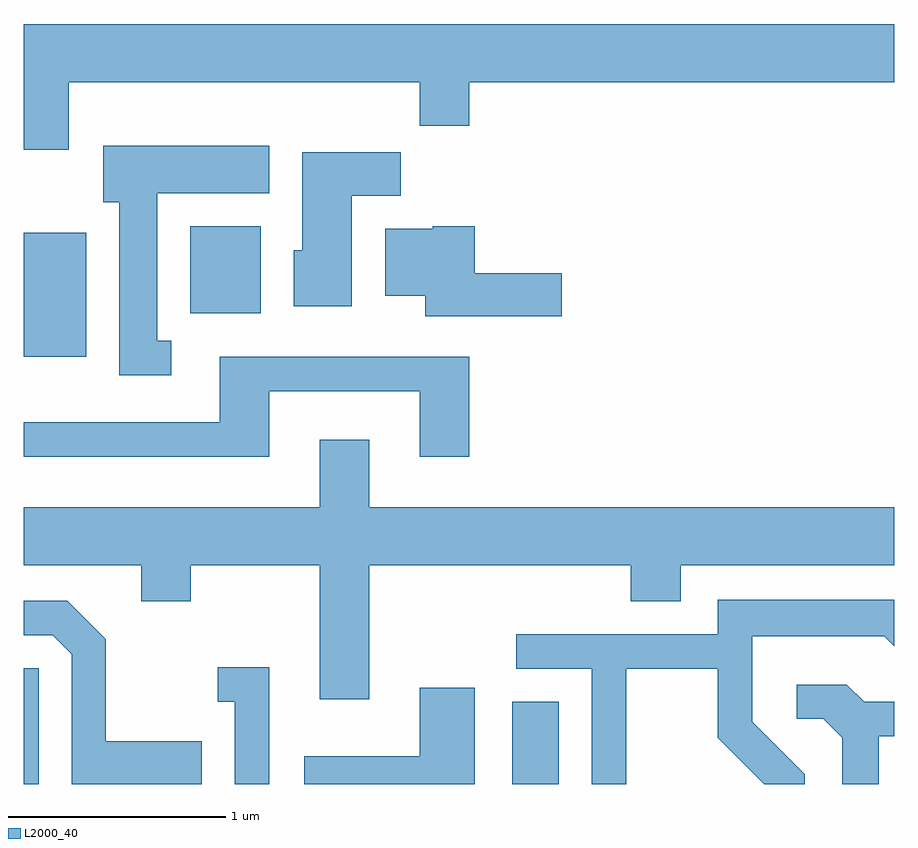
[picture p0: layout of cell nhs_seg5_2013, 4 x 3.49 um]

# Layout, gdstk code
import gdstk
lib = gdstk.Library(unit=1e-6, precision=1e-09)
def R(c, l, rs):  # rectangles x0, y0, x1, y1
    for r in rs: c.add(gdstk.rectangle(r[:2], r[2:], *l))
def P(c, l, *ps):  # polygons
    for p in ps: c.add(gdstk.Polygon(p, *l))
L2000_40 = (2000, 40)

nhs_seg5_2013 = lib.new_cell('nhs_seg5_2013')
R(nhs_seg5_2013, L2000_40, [(245.611,1398.072,245.679,1398.604), (247.856,1398.072,248.069,1398.449), (245.611,1400.036,245.899,1400.604), (246.376,1400.236,246.699,1400.634)])
P(nhs_seg5_2013, L2000_40, [(245.819,1401.296),(247.431,1401.296),(247.431,1401.096),(247.659,1401.096),(247.659,1401.296),(249.611,1401.296),(249.611,1401.564),(245.611,1401.564),(245.611,1400.986),(245.819,1400.986)],
  [(246.288,1400.109),(246.224,1400.109),(246.224,1400.786),(246.739,1400.786),(246.739,1401.004),(245.976,1401.004),(245.976,1400.746),(246.051,1400.746),(246.051,1399.951),(246.288,1399.951)],
  [(247.119,1400.776),(247.344,1400.776),(247.344,1400.974),(246.891,1400.974),(246.891,1400.524),(246.851,1400.524),(246.851,1400.266),(247.119,1400.266)],
  [(248.084,1400.419),(247.684,1400.419),(247.684,1400.634),(247.49,1400.634),(247.49,1400.624),(247.271,1400.624),(247.271,1400.316),(247.456,1400.316),(247.456,1400.221),(248.084,1400.221)],
  [(246.739,1399.876),(247.431,1399.876),(247.431,1399.576),(247.659,1399.576),(247.659,1400.034),(246.511,1400.034),(246.511,1399.734),(245.611,1399.734),(245.611,1399.576),(246.739,1399.576)],
  [(247.199,1399.076),(248.401,1399.076),(248.401,1398.911),(248.629,1398.911),(248.629,1399.076),(249.611,1399.076),(249.611,1399.344),(247.199,1399.344),(247.199,1399.654),(246.971,1399.654),(246.971,1399.344),(245.611,1399.344),(245.611,1399.076),(246.151,1399.076),(246.151,1398.911),(246.379,1398.911),(246.379,1399.076),(246.971,1399.076),(246.971,1398.461),(247.199,1398.461)],
  [(248.379,1398.601),(248.801,1398.601),(248.801,1398.284),(249.013,1398.072),(249.199,1398.072),(249.199,1398.117),(248.959,1398.357),(248.959,1398.751),(249.564,1398.751),(249.611,1398.704),(249.611,1398.919),(248.801,1398.919),(248.801,1398.759),(247.873,1398.759),(247.873,1398.601),(248.221,1398.601),(248.221,1398.072),(248.379,1398.072)],
  [(246.429,1398.269),(245.989,1398.269),(245.989,1398.737),(245.812,1398.914),(245.611,1398.914),(245.611,1398.756),(245.744,1398.756),(245.831,1398.669),(245.831,1398.072),(246.429,1398.072)],
  [(246.739,1398.609),(246.503,1398.609),(246.503,1398.451),(246.581,1398.451),(246.581,1398.072),(246.739,1398.072)],
  [(249.539,1398.291),(249.611,1398.291),(249.611,1398.449),(249.472,1398.449),(249.392,1398.529),(249.163,1398.529),(249.163,1398.371),(249.284,1398.371),(249.371,1398.284),(249.371,1398.072),(249.539,1398.072)],
  [(247.684,1398.514),(247.431,1398.514),(247.431,1398.199),(246.901,1398.199),(246.901,1398.072),(247.684,1398.072)])

lib.write_gds('nhs_seg5_2013.gds')
